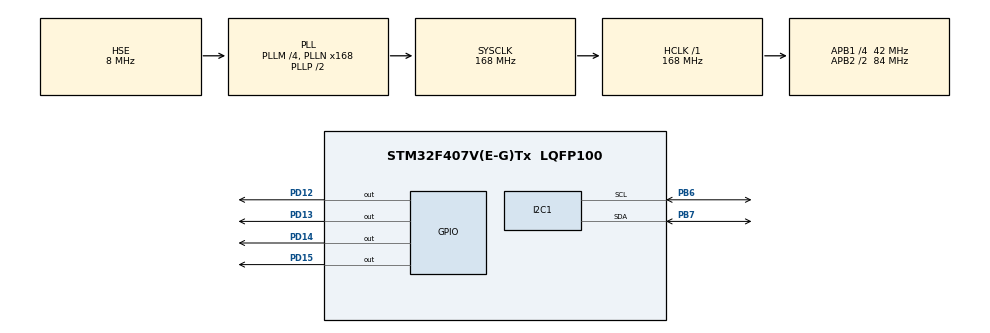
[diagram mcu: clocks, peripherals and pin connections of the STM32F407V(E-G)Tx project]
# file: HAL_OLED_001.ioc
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I2C1.I2C_Mode=I2C_Fast
Mcu.Family=STM32F4
Mcu.Name=STM32F407V(E-G)Tx
Mcu.Package=LQFP100
NVIC.PriorityGroup=NVIC_PRIORITYGROUP_4
PA13.Mode=Serial_Wire
PA13.Signal=SYS_JTMS-SWDIO
PA14.Mode=Serial_Wire
PA14.Signal=SYS_JTCK-SWCLK
PB6.Mode=I2C
PB6.Signal=I2C1_SCL
PB7.Mode=I2C
PB7.Signal=I2C1_SDA
PD12.Signal=GPIO_Output
PD13.Signal=GPIO_Output
PD14.Signal=GPIO_Output
PD15.Signal=GPIO_Output
PH0-OSC_IN.Mode=HSE-External-Oscillator
PH0-OSC_IN.Signal=RCC_OSC_IN
PH1-OSC_OUT.Mode=HSE-External-Oscillator
PH1-OSC_OUT.Signal=RCC_OSC_OUT
ProjectManager.HeapSize=0x200
ProjectManager.StackSize=0x400
ProjectManager.TargetToolchain=STM32CubeIDE
RCC.48MHZClocksFreq_Value=84000000
RCC.AHBFreq_Value=168000000
RCC.APB1CLKDivider=RCC_HCLK_DIV4
RCC.APB1Freq_Value=42000000
RCC.APB1TimFreq_Value=84000000
RCC.APB2CLKDivider=RCC_HCLK_DIV2
RCC.APB2Freq_Value=84000000
RCC.APB2TimFreq_Value=168000000
RCC.CortexFreq_Value=168000000
RCC.HCLKFreq_Value=168000000
RCC.HSE_VALUE=8000000
RCC.HSI_VALUE=16000000
RCC.LSE_VALUE=32768
RCC.PLLM=4
RCC.PLLN=168
RCC.PLLSourceVirtual=RCC_PLLSOURCE_HSE
RCC.SYSCLKFreq_VALUE=168000000
RCC.SYSCLKSource=RCC_SYSCLKSOURCE_PLLCLK
RCC.VCOOutputFreq_Value=336000000
board=custom

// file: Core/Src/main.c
/* USER CODE BEGIN Header */
/**
  ******************************************************************************
  * @file           : main.c
  * @brief          : Main program body
  ******************************************************************************
  * @attention
  *
  * Copyright (c) 2023 STMicroelectronics.
  * All rights reserved.
  *
  * This software is licensed under terms that can be found in the LICENSE file
  * in the root directory of this software component.
  * If no LICENSE file comes with this software, it is provided AS-IS.
  *
  ******************************************************************************
  */
/* USER CODE END Header */
#include "main.h"

/* USER CODE BEGIN Includes */

#include "OLED_SSD1306_Fonts.h"
#include "STM32F407_OLED_SSD1306_Driver.h"

uint8_t deviceAddress;

/* USER CODE END Includes */

I2C_HandleTypeDef hi2c1;

void SystemClock_Config(void);
static void MX_GPIO_Init(void);
static void MX_I2C1_Init(void);

/* USER CODE BEGIN 0 */

uint8_t Scan_I2C_Address()
{
	for(int i = 0;i < 256;i++)
	{
		if(HAL_I2C_IsDeviceReady(&hi2c1, i, 1,100) == HAL_OK)
		{
			deviceAddress = i;
		}
	}

	return deviceAddress;
}

/* USER CODE END 0 */

int main(void)
{

  /* MCU Configuration--------------------------------------------------------*/

  /* Reset of all peripherals, Initializes the Flash interface and the Systick. */
  HAL_Init();

  /* Configure the system clock */
  SystemClock_Config();

  /* Initialize all configured peripherals */
  MX_GPIO_Init();
  MX_I2C1_Init();
  /* USER CODE BEGIN 2 */

  deviceAddress = Scan_I2C_Address();

  OLED_SSD1306_Init();

  OLED_SSD1306_Puts("Eren Yerli ",&OLED_Font_11x18, OLED_COLOR_WHITE);
  OLED_SSD1306_DrawPixel(0,32,OLED_COLOR_WHITE);
  OLED_SSD1306_DrawPixel(0,33,OLED_COLOR_WHITE);
  OLED_SSD1306_DrawPixel(0,34,OLED_COLOR_WHITE);
  OLED_SSD1306_DrawPixel(0,35,OLED_COLOR_WHITE);
  OLED_SSD1306_DrawPixel(0,36,OLED_COLOR_WHITE);
  OLED_SSD1306_DrawPixel(0,37,OLED_COLOR_WHITE);
  OLED_SSD1306_DrawPixel(0,38,OLED_COLOR_WHITE);
  OLED_SSD1306_UpdateScreen(); // Always update screen after any changes to appear in OLED

  /* USER CODE END 2 */

  /* Infinite loop */
  while (1)
  {

  }
}

void SystemClock_Config(void)
{
  RCC_OscInitTypeDef RCC_OscInitStruct = {0};
  RCC_ClkInitTypeDef RCC_ClkInitStruct = {0};

  /** Configure the main internal regulator output voltage
  */
  __HAL_RCC_PWR_CLK_ENABLE();
  __HAL_PWR_VOLTAGESCALING_CONFIG(PWR_REGULATOR_VOLTAGE_SCALE1);

  /** Initializes the RCC Oscillators according to the specified parameters
  * in the RCC_OscInitTypeDef structure.
  */
  RCC_OscInitStruct.OscillatorType = RCC_OSCILLATORTYPE_HSE;
  RCC_OscInitStruct.HSEState = RCC_HSE_ON;
  RCC_OscInitStruct.PLL.PLLState = RCC_PLL_ON;
  RCC_OscInitStruct.PLL.PLLSource = RCC_PLLSOURCE_HSE;
  RCC_OscInitStruct.PLL.PLLM = 4;
  RCC_OscInitStruct.PLL.PLLN = 168;
  RCC_OscInitStruct.PLL.PLLP = RCC_PLLP_DIV2;
  RCC_OscInitStruct.PLL.PLLQ = 4;
  if (HAL_RCC_OscConfig(&RCC_OscInitStruct) != HAL_OK)
  {
    Error_Handler();
  }

  /** Initializes the CPU, AHB and APB buses clocks
  */
  RCC_ClkInitStruct.ClockType = RCC_CLOCKTYPE_HCLK|RCC_CLOCKTYPE_SYSCLK
                              |RCC_CLOCKTYPE_PCLK1|RCC_CLOCKTYPE_PCLK2;
  RCC_ClkInitStruct.SYSCLKSource = RCC_SYSCLKSOURCE_PLLCLK;
  RCC_ClkInitStruct.AHBCLKDivider = RCC_SYSCLK_DIV1;
  RCC_ClkInitStruct.APB1CLKDivider = RCC_HCLK_DIV4;
  RCC_ClkInitStruct.APB2CLKDivider = RCC_HCLK_DIV2;

  if (HAL_RCC_ClockConfig(&RCC_ClkInitStruct, FLASH_LATENCY_5) != HAL_OK)
  {
    Error_Handler();
  }
}

static void MX_I2C1_Init(void)
{

  hi2c1.Instance = I2C1;
  hi2c1.Init.ClockSpeed = 400000;
  hi2c1.Init.DutyCycle = I2C_DUTYCYCLE_2;
  hi2c1.Init.OwnAddress1 = 0;
  hi2c1.Init.AddressingMode = I2C_ADDRESSINGMODE_7BIT;
  hi2c1.Init.DualAddressMode = I2C_DUALADDRESS_DISABLE;
  hi2c1.Init.OwnAddress2 = 0;
  hi2c1.Init.GeneralCallMode = I2C_GENERALCALL_DISABLE;
  hi2c1.Init.NoStretchMode = I2C_NOSTRETCH_DISABLE;
  if (HAL_I2C_Init(&hi2c1) != HAL_OK)
  {
    Error_Handler();
  }

}

static void MX_GPIO_Init(void)
{
  GPIO_InitTypeDef GPIO_InitStruct = {0};

  /* GPIO Ports Clock Enable */
  __HAL_RCC_GPIOH_CLK_ENABLE();
  __HAL_RCC_GPIOD_CLK_ENABLE();
  __HAL_RCC_GPIOA_CLK_ENABLE();
  __HAL_RCC_GPIOB_CLK_ENABLE();

  /*Configure GPIO pin Output Level */
  HAL_GPIO_WritePin(GPIOD, GPIO_PIN_12|GPIO_PIN_13|GPIO_PIN_14|GPIO_PIN_15, GPIO_PIN_RESET);

  /*Configure GPIO pins : PD12 PD13 PD14 PD15 */
  GPIO_InitStruct.Pin = GPIO_PIN_12|GPIO_PIN_13|GPIO_PIN_14|GPIO_PIN_15;
  GPIO_InitStruct.Mode = GPIO_MODE_OUTPUT_PP;
  GPIO_InitStruct.Pull = GPIO_NOPULL;
  GPIO_InitStruct.Speed = GPIO_SPEED_FREQ_LOW;
  HAL_GPIO_Init(GPIOD, &GPIO_InitStruct);

}

void Error_Handler(void)
{
  __disable_irq();
  while (1)
  {
  }
}
